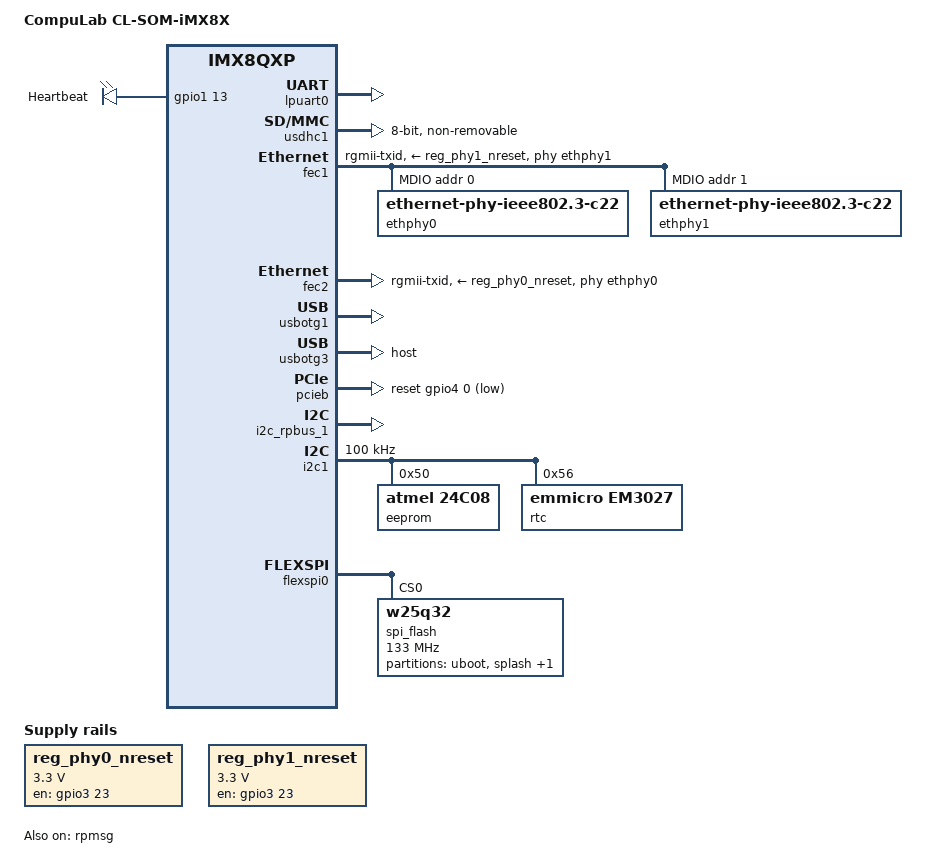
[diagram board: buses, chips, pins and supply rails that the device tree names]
/*
 * Copyright 2019 CompuLab
 *
 * This program is free software; you can redistribute it and/or
 * modify it under the terms of the GNU General Public License
 * as published by the Free Software Foundation; either version 2
 * of the License, or (at your option) any later version.
 *
 * This program is distributed in the hope that it will be useful,
 * but WITHOUT ANY WARRANTY; without even the implied warranty of
 * MERCHANTABILITY or FITNESS FOR A PARTICULAR PURPOSE.  See the
 * GNU General Public License for more details.
 */

/dts-v1/;

#include "../freescale/fsl-imx8qxp.dtsi"

/ {
	model = "CompuLab CL-SOM-iMX8X";
	compatible = "compulab,cl-som-imx8x", "fsl,imx8qxp";

	leds {
		compatible = "gpio-leds";
		heartbeat-led {
			label = "Heartbeat";
			gpios = <&gpio1 13 0>;
			linux,default-trigger = "heartbeat";
		};
	};

	regulators {
		compatible = "simple-bus";
		#address-cells = <1>;
		#size-cells = <0>;

		reg_phy0_nreset: regulator-phy0-nrst {
			compatible = "regulator-fixed";
			regulator-name = "fec2_phy_nreset";
			regulator-min-microvolt = <3300000>;
			regulator-max-microvolt = <3300000>;
			gpio = <&gpio3 23 GPIO_ACTIVE_HIGH>;
			enable-active-high;
			regulator-always-on;
		};

		reg_phy1_nreset: regulator-phy1-nrst {
			compatible = "regulator-fixed";
			regulator-name = "fec1_phy_nreset";
			regulator-min-microvolt = <3300000>;
			regulator-max-microvolt = <3300000>;
			gpio = <&gpio3 23 GPIO_ACTIVE_HIGH>;
			enable-active-high;
			regulator-always-on;
		};
	};

};

&lpuart0 {
	pinctrl-names = "default";
	pinctrl-0 = <&pinctrl_lpuart0>;
	status = "okay";
};

&usdhc1 {
	pinctrl-names = "default", "state_100mhz", "state_200mhz";
	pinctrl-0 = <&pinctrl_usdhc1>;
	pinctrl-1 = <&pinctrl_usdhc1_100mhz>;
	pinctrl-2 = <&pinctrl_usdhc1_200mhz>;
	bus-width = <8>;
	non-removable;
	status = "okay";
};


&tsens {
	tsens-num = <3>;
};

&thermal_zones {
	pmic-thermal0 {
		polling-delay-passive = <250>;
		polling-delay = <2000>;
		thermal-sensors = <&tsens 2>;
		trips {
			pmic_alert0: trip0 {
				temperature = <110000>;
				hysteresis = <2000>;
				type = "passive";
			};
			pmic_crit0: trip1 {
				temperature = <125000>;
				hysteresis = <2000>;
				type = "critical";
			};
		};
		cooling-maps {
			map0 {
				trip = <&pmic_alert0>;
				cooling-device =
				<&A35_0 THERMAL_NO_LIMIT THERMAL_NO_LIMIT>;
			};
		};
	};
};

&rpmsg{
	/*
	 * 64K for one rpmsg instance:
	 */
	vdev-nums = <2>;
	reg = <0x0 0x90000000 0x0 0x20000>;
	status = "okay";
};

&fec1 {
	pinctrl-names = "default";
	pinctrl-0 = <&pinctrl_fec1>;
	phy-mode = "rgmii-txid";
	phy-handle = <&ethphy1>;
	phy-supply = <&reg_phy1_nreset>;
	fsl,magic-packet;
	fsl,rgmii_rxc_dly;
	status = "okay";

	mdio {
		#address-cells = <1>;
		#size-cells = <0>;

		ethphy0: ethernet-phy@0 {
			compatible = "ethernet-phy-ieee802.3-c22";
			reg = <0>;
			at803x,eee-disabled;
			at803x,vddio-1p8v;
		};

		ethphy1: ethernet-phy@1 {
			compatible = "ethernet-phy-ieee802.3-c22";
			reg = <1>;
			at803x,eee-disabled;
			at803x,vddio-1p8v;
		};
	};
};

&fec2 {
	pinctrl-names = "default";
	pinctrl-0 = <&pinctrl_fec2>;
	phy-mode = "rgmii-txid";
	phy-handle = <&ethphy0>;
	phy-supply = <&reg_phy0_nreset>;
	fsl,magic-packet;
	fsl,rgmii_rxc_dly;
	status = "okay";
};

&usbotg1 {
	srp-disable;
	hnp-disable;
	adp-disable;
	disable-over-current;
	status = "okay";
};

&usbotg3 {
	dr_mode = "host";
	status = "okay";
};

&pcieb{
	ext_osc = <1>;
	pinctrl-names = "default";
	pinctrl-0 = <&pinctrl_pcieb>;
	clkreq-gpio = <&gpio4 1 GPIO_ACTIVE_LOW>;
	reset-gpio = <&gpio4 0 GPIO_ACTIVE_LOW>;
	status = "okay";
};

&i2c_rpbus_1 {
	#address-cells = <1>;
	#size-cells = <0>;
	status = "okay";
};

&i2c1 {
	#address-cells = <1>;
	#size-cells = <0>;
	clock-frequency = <100000>;
	pinctrl-names = "default";
	pinctrl-0 = <&pinctrl_lpi2c1>;
	status = "okay";

	eeprom@50 {
		compatible = "atmel,24c08";
		reg = <0x50>;
		pagesize = <16>;
	};

	rtc@56 {
		compatible = "emmicro,em3027";
		reg = <0x56>;
	};
};

&flexspi0 {
	pinctrl-names = "default";
	pinctrl-0 = <&pinctrl_flexspi0>;
	status = "okay";

	spi_flash: spi_flash@0 {
		#address-cells = <1>;
		#size-cells = <1>;
		compatible = "w25q32", "jedec,spi-nor";
		spi-max-frequency = <133000000>;
		reg = <0>;

		partition@0 {
			label = "uboot";
			reg = <0x0 0x150000>;
		};

		partition@150000 {
			label = "splash";
			reg = <0x150000 0xa0000>;
		};

		partition@1f0000 {
			label = "uboot environment";
			reg = <0x1f0000 0x10000>;
		};

	};
};

&iomuxc {
	pinctrl-names = "default";
	pinctrl-0 = <&pinctrl_hog>;

	imx8qxp-mek {
		pinctrl_hog: hoggrp {
			fsl,pins = <
				SC_P_COMP_CTL_GPIO_1V8_3V3_GPIORHB_PAD		0x000514a0
				SC_P_ADC_IN5_LSIO_GPIO1_IO13			0x00000060
			>;
		};

		pinctrl_lpuart0: lpuart0grp {
			fsl,pins = <
				SC_P_UART0_RX_ADMA_UART0_RX			0x06000020
				SC_P_UART0_TX_ADMA_UART0_TX			0x06000020
			>;
		};

		pinctrl_usdhc1: usdhc1grp {
			fsl,pins = <
				SC_P_EMMC0_CLK_CONN_EMMC0_CLK			0x06000041
				SC_P_EMMC0_CMD_CONN_EMMC0_CMD			0x00000021
				SC_P_EMMC0_DATA0_CONN_EMMC0_DATA0		0x00000021
				SC_P_EMMC0_DATA1_CONN_EMMC0_DATA1		0x00000021
				SC_P_EMMC0_DATA2_CONN_EMMC0_DATA2		0x00000021
				SC_P_EMMC0_DATA3_CONN_EMMC0_DATA3		0x00000021
				SC_P_EMMC0_DATA4_CONN_EMMC0_DATA4		0x00000021
				SC_P_EMMC0_DATA5_CONN_EMMC0_DATA5		0x00000021
				SC_P_EMMC0_DATA6_CONN_EMMC0_DATA6		0x00000021
				SC_P_EMMC0_DATA7_CONN_EMMC0_DATA7		0x00000021
				SC_P_EMMC0_STROBE_CONN_EMMC0_STROBE		0x00000041
				SC_P_EMMC0_RESET_B_CONN_EMMC0_RESET_B   	0x00000021
			>;
		};

		pinctrl_usdhc1_100mhz: usdhc1grp100mhz {
			fsl,pins = <
				SC_P_EMMC0_CLK_CONN_EMMC0_CLK			0x06000041
				SC_P_EMMC0_CMD_CONN_EMMC0_CMD			0x00000021
				SC_P_EMMC0_DATA0_CONN_EMMC0_DATA0		0x00000021
				SC_P_EMMC0_DATA1_CONN_EMMC0_DATA1		0x00000021
				SC_P_EMMC0_DATA2_CONN_EMMC0_DATA2		0x00000021
				SC_P_EMMC0_DATA3_CONN_EMMC0_DATA3		0x00000021
				SC_P_EMMC0_DATA4_CONN_EMMC0_DATA4		0x00000021
				SC_P_EMMC0_DATA5_CONN_EMMC0_DATA5		0x00000021
				SC_P_EMMC0_DATA6_CONN_EMMC0_DATA6		0x00000021
				SC_P_EMMC0_DATA7_CONN_EMMC0_DATA7		0x00000021
				SC_P_EMMC0_STROBE_CONN_EMMC0_STROBE		0x00000041
				SC_P_EMMC0_RESET_B_CONN_EMMC0_RESET_B   	0x00000020
			>;
		};

		pinctrl_usdhc1_200mhz: usdhc1grp200mhz {
			fsl,pins = <
				SC_P_EMMC0_CLK_CONN_EMMC0_CLK			0x06000041
				SC_P_EMMC0_CMD_CONN_EMMC0_CMD			0x00000021
				SC_P_EMMC0_DATA0_CONN_EMMC0_DATA0		0x00000021
				SC_P_EMMC0_DATA1_CONN_EMMC0_DATA1		0x00000021
				SC_P_EMMC0_DATA2_CONN_EMMC0_DATA2		0x00000021
				SC_P_EMMC0_DATA3_CONN_EMMC0_DATA3		0x00000021
				SC_P_EMMC0_DATA4_CONN_EMMC0_DATA4		0x00000021
				SC_P_EMMC0_DATA5_CONN_EMMC0_DATA5		0x00000021
				SC_P_EMMC0_DATA6_CONN_EMMC0_DATA6		0x00000021
				SC_P_EMMC0_DATA7_CONN_EMMC0_DATA7		0x00000021
				SC_P_EMMC0_STROBE_CONN_EMMC0_STROBE		0x00000041
				SC_P_EMMC0_RESET_B_CONN_EMMC0_RESET_B   	0x00000020
			>;
		};

		pinctrl_fec1: fec1grp {
			fsl,pins = <
				SC_P_ENET0_MDC_CONN_ENET0_MDC			0x06000020
				SC_P_ENET0_MDIO_CONN_ENET0_MDIO			0x06000020
				SC_P_QSPI0B_DQS_LSIO_GPIO3_IO22			0x00000021
				SC_P_QSPI0B_SS1_B_LSIO_GPIO3_IO24		0x00000021
				SC_P_ENET0_RGMII_TX_CTL_CONN_ENET0_RGMII_TX_CTL	0x00000061
				SC_P_ENET0_RGMII_TXC_CONN_ENET0_RGMII_TXC	0x00000061
				SC_P_ENET0_RGMII_TXD0_CONN_ENET0_RGMII_TXD0	0x00000061
				SC_P_ENET0_RGMII_TXD1_CONN_ENET0_RGMII_TXD1	0x00000061
				SC_P_ENET0_RGMII_TXD2_CONN_ENET0_RGMII_TXD2	0x00000061
				SC_P_ENET0_RGMII_TXD3_CONN_ENET0_RGMII_TXD3	0x00000061
				SC_P_ENET0_RGMII_RXC_CONN_ENET0_RGMII_RXC	0x00000061
				SC_P_ENET0_RGMII_RX_CTL_CONN_ENET0_RGMII_RX_CTL	0x00000061
				SC_P_ENET0_RGMII_RXD0_CONN_ENET0_RGMII_RXD0	0x00000061
				SC_P_ENET0_RGMII_RXD1_CONN_ENET0_RGMII_RXD1	0x00000061
				SC_P_ENET0_RGMII_RXD2_CONN_ENET0_RGMII_RXD2	0x00000061
				SC_P_ENET0_RGMII_RXD3_CONN_ENET0_RGMII_RXD3	0x00000061
			>;
		};

		pinctrl_fec2: fec2grp {
			fsl,pins = <
				SC_P_ESAI0_SCKR_CONN_ENET1_RGMII_TX_CTL		0x00000060
				SC_P_ESAI0_FSR_CONN_ENET1_RGMII_TXC		0x00000060
				SC_P_ESAI0_TX4_RX1_CONN_ENET1_RGMII_TXD0	0x00000060
				SC_P_ESAI0_TX5_RX0_CONN_ENET1_RGMII_TXD1	0x00000060
				SC_P_ESAI0_FST_CONN_ENET1_RGMII_TXD2		0x00000060
				SC_P_ESAI0_SCKT_CONN_ENET1_RGMII_TXD3		0x00000060
				SC_P_ESAI0_TX0_CONN_ENET1_RGMII_RXC		0x00000060
				SC_P_SPDIF0_TX_CONN_ENET1_RGMII_RX_CTL		0x00000060
				SC_P_SPDIF0_RX_CONN_ENET1_RGMII_RXD0		0x00000060
				SC_P_ESAI0_TX3_RX2_CONN_ENET1_RGMII_RXD1	0x00000060
				SC_P_ESAI0_TX2_RX3_CONN_ENET1_RGMII_RXD2	0x00000060
				SC_P_ESAI0_TX1_CONN_ENET1_RGMII_RXD3		0x00000060
				SC_P_QSPI0B_SS0_B_LSIO_GPIO3_IO23		0x00000021 /* PHY0 RST */
				SC_P_QSPI0A_SS1_B_LSIO_GPIO3_IO15		0x00000021 /* PHY0 INT */
			>;
		};

		pinctrl_pcieb: pcieagrp{
			fsl,pins = <
				SC_P_PCIE_CTRL0_PERST_B_LSIO_GPIO4_IO00		0x06000021
				SC_P_PCIE_CTRL0_CLKREQ_B_LSIO_GPIO4_IO01	0x06000021
				SC_P_PCIE_CTRL0_WAKE_B_LSIO_GPIO4_IO02		0x04000021
			>;
		};

		pinctrl_flexspi0: flexspi0grp {
			fsl,pins = <
				SC_P_QSPI0A_DATA0_LSIO_QSPI0A_DATA0		0x06000021
				SC_P_QSPI0A_DATA1_LSIO_QSPI0A_DATA1		0x06000021
				SC_P_QSPI0A_DATA2_LSIO_QSPI0A_DATA2		0x06000021
				SC_P_QSPI0A_DATA3_LSIO_QSPI0A_DATA3		0x06000021
				SC_P_QSPI0A_SS0_B_LSIO_QSPI0A_SS0_B		0x06000021
				SC_P_QSPI0A_SCLK_LSIO_QSPI0A_SCLK		0x06000021
			>;
		};

		pinctrl_lpi2c1: lpi1cgrp {
			fsl,pins = <
				SC_P_USB_SS3_TC1_ADMA_I2C1_SCL			0x06000021
				SC_P_USB_SS3_TC3_ADMA_I2C1_SDA			0x06000021
			>;
		};
	};
};
